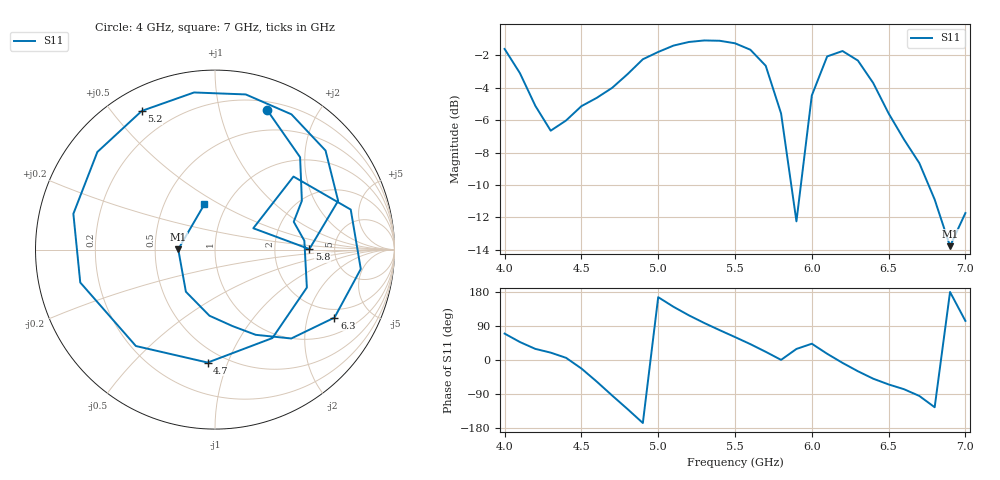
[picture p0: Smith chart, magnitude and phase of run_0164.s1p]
! Touchstone file exported from HFSS 2024.2.0
!  File:  C:/Users/wsak9/Desktop/Sim Fast/Widenad Patch/WP_AI_V1_sweep.aedt
!  Generated:  09:45:17 PM Oct 13, 2026
!  Design:  A1_model
!  Project:  WP_AI_V1_sweep
!  Setup:  Setup1
!  Solution:  Sweep
! Variables:
!  Air_gap = 1.8mm
!  Curve_Amp1 = 2.93
!  Curve_len1 = 1
!  Curve_pos = 10.84mm
!  Extra = 5.95mm
!  H_sub = 0.79mm
!  L_Patch = 17.68mm
!  L_Patch1 = 19.2mm
!  Sx = 1.67mm
!  Sy = 0.7mm
!  WS = 1mm
!  W_Patch = 19.26mm
!  W_Patch1 = 13.25mm
!Data is not renormalized
# GHz S MA
! Terminal data exported
! Port[1] = 1
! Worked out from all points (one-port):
!   31 points, 4 GHz to 7 GHz, reference per port
!   lowest |S11| = -13.8 dB at 6.9 GHz (marker M1), VSWR 1.52
!   |S11| at or under -10 dB: 5.866 GHz to 5.929 GHz (62.52 MHz wide, 1.06 % of centre); 6.76 GHz to end of sweep
!   S11 on the Smith chart (normalised r, x): 4 GHz: 0.28, +1.40; 4.7 GHz: 0.41, -0.85; 5.2 GHz: 0.09, +0.60; 5.8 GHz: 3.22, +0.03; 6.3 GHz: 1.62, -2.97; 7 GHz: 0.79, +0.43
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4  0.8315 69.7
4.1  0.6998 47.3
4.2  0.5552 29.3
4.3  0.4653 19.5
4.4  0.5002 5.7
4.5  0.5538 -22.4
4.6  0.5875 -57.0
4.7  0.6306 -93.7
4.8  0.6949 -129.4
4.9  0.7728 -166.3
5  0.8139 165.8
5.1  0.8517 140.3
5.2  0.8738 117.8
5.3  0.8832 97.6
5.5  0.8657 60.5
5.6  0.8269 41.9
5.7  0.7379 21.6
5.8  0.5258 0.3
5.9  0.2443 29.1
6  0.5973 42.9
6.1  0.7885 16.4
6.2  0.8194 -7.6
6.3  0.7659 -29.6
6.4  0.6526 -49.4
6.7  0.3696 -94.8
6.8  0.2853 -124.7
6.9  0.2048 179.5
7  0.2592 103.2
